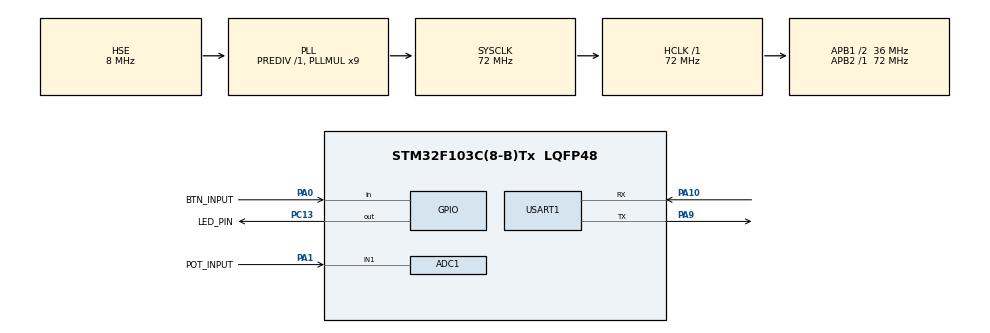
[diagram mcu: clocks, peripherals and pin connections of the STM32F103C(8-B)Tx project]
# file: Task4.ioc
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ADC1.Channel-0\#ChannelRegularConversion=ADC_CHANNEL_1
ADC1.NbrOfConversionFlag=1
ADC1.Rank-0\#ChannelRegularConversion=1
ADC1.SamplingTime-0\#ChannelRegularConversion=ADC_SAMPLETIME_1CYCLE_5
ADC1.master=1
Mcu.Family=STM32F1
Mcu.Name=STM32F103C(8-B)Tx
Mcu.Package=LQFP48
NVIC.PriorityGroup=NVIC_PRIORITYGROUP_4
PA0-WKUP.GPIO_Label=BTN_INPUT
PA0-WKUP.GPIO_PuPd=GPIO_PULLDOWN
PA0-WKUP.Signal=GPIO_Input
PA1.GPIO_Label=POT_INPUT
PA1.Signal=ADCx_IN1
PA10.Mode=Asynchronous
PA10.Signal=USART1_RX
PA13.Mode=Serial_Wire
PA13.Signal=SYS_JTMS-SWDIO
PA14.Mode=Serial_Wire
PA14.Signal=SYS_JTCK-SWCLK
PA9.Mode=Asynchronous
PA9.Signal=USART1_TX
PC13-TAMPER-RTC.GPIO_Label=LED_PIN
PC13-TAMPER-RTC.Signal=GPIO_Output
PD0-OSC_IN.Mode=HSE-External-Oscillator
PD0-OSC_IN.Signal=RCC_OSC_IN
PD1-OSC_OUT.Mode=HSE-External-Oscillator
PD1-OSC_OUT.Signal=RCC_OSC_OUT
ProjectManager.HeapSize=0x200
ProjectManager.StackSize=0x400
ProjectManager.TargetToolchain=Makefile
RCC.ADCPresc=RCC_ADCPCLK2_DIV6
RCC.AHBFreq_Value=72000000
RCC.APB1CLKDivider=RCC_HCLK_DIV2
RCC.APB1Freq_Value=36000000
RCC.APB1TimFreq_Value=72000000
RCC.APB2Freq_Value=72000000
RCC.APB2TimFreq_Value=72000000
RCC.HCLKFreq_Value=72000000
RCC.PLLMUL=RCC_PLL_MUL9
RCC.PLLSourceVirtual=RCC_PLLSOURCE_HSE
RCC.SYSCLKFreq_VALUE=72000000
RCC.SYSCLKSource=RCC_SYSCLKSOURCE_PLLCLK
RCC.USBFreq_Value=72000000
SH.ADCx_IN1.0=ADC1_IN1,IN1
USART1.VirtualMode=VM_ASYNC
board=custom

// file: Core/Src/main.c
/* USER CODE BEGIN Header */
/**
 ******************************************************************************
 * @file           : main.c
 * @brief          : Main program body
 ******************************************************************************
 * @attention
 *
 * Copyright (c) 2026 STMicroelectronics.
 * All rights reserved.
 *
 * This software is licensed under terms that can be found in the LICENSE file
 * in the root directory of this software component.
 * If no LICENSE file comes with this software, it is provided AS-IS.
 *
 ******************************************************************************
 */
/* USER CODE END Header */
#include "main.h"
#include "sensor.h"
#include "uart_log.h"
#include <stdint.h>

/* USER CODE BEGIN PD */
#define BTN_DEBOUNCE_MS 50U    /* Buton debounce bekleme süresi  */
#define LED_BOOT_BLINK 3U      /* Boot testindeki yanıp sönme sayısı */
#define LED_BLINK_FAST_MS 100U /* UART hata bildirimi yanıp sönme   */
#define LED_BLINK_ERR_N 5U     /* UART hata bildirimi tekrar sayısı  */

/* Ölçüm sayacı (her basışta artar, Serial Monitor'de görünür) */
#define MEAS_COUNTER_MAX 9999U
/* USER CODE END PD */

ADC_HandleTypeDef hadc1;

UART_HandleTypeDef huart1;

/* USER CODE BEGIN PV */
static SensorData g_sensor = {0};
static uint32_t g_meas_cnt = 0;
/* USER CODE END PV */

void SystemClock_Config(void);
static void MX_GPIO_Init(void);
static void MX_ADC1_Init(void);
static void MX_USART1_UART_Init(void);

// Custom functions
static void boot_led_test(void);
static void led_error_blink(void);
static void do_measurement(void);
static uint8_t btn_is_pressed(void);

int main(void) {

  /* MCU Configuration--------------------------------------------------------*/

  /* Reset of all peripherals, Initializes the Flash interface and the Systick.
   */
  HAL_Init();

  /* Configure the system clock */
  SystemClock_Config();

  /* Initialize all configured peripherals */
  MX_GPIO_Init();
  MX_ADC1_Init();
  MX_USART1_UART_Init();
  /* USER CODE BEGIN 2 */

  // Boot test
  boot_led_test();
  UART_Print(&huart1, "[SISTEM] TUFAN Sensor Dashboard baslatiliyor...\r\n");
  UART_Print(&huart1, "[SISTEM] LED yanip sonuyor (3x boot testi)...\r\n");
  UART_Print(&huart1, "[SISTEM] Hazir. Olcum icin butona basiniz.\r\n\r\n");

  /* USER CODE END 2 */

  /* Infinite loop */
  while (1) {

    /* USER CODE BEGIN 3 */
    if (btn_is_pressed()) {
      do_measurement();

      // Tek basış garantisi: buton bırakılana kadar bekle
      while (HAL_GPIO_ReadPin(BTN_INPUT_GPIO_Port, BTN_INPUT_Pin) ==
             GPIO_PIN_SET) {
        HAL_Delay(10);
      }
    }
  }
  /* USER CODE END 3 */
}

void SystemClock_Config(void) {
  RCC_OscInitTypeDef RCC_OscInitStruct = {0};
  RCC_ClkInitTypeDef RCC_ClkInitStruct = {0};
  RCC_PeriphCLKInitTypeDef PeriphClkInit = {0};

  /** Initializes the RCC Oscillators according to the specified parameters
   * in the RCC_OscInitTypeDef structure.
   */
  RCC_OscInitStruct.OscillatorType = RCC_OSCILLATORTYPE_HSE;
  RCC_OscInitStruct.HSEState = RCC_HSE_ON;
  RCC_OscInitStruct.HSEPredivValue = RCC_HSE_PREDIV_DIV1;
  RCC_OscInitStruct.HSIState = RCC_HSI_ON;
  RCC_OscInitStruct.PLL.PLLState = RCC_PLL_ON;
  RCC_OscInitStruct.PLL.PLLSource = RCC_PLLSOURCE_HSE;
  RCC_OscInitStruct.PLL.PLLMUL = RCC_PLL_MUL9;
  if (HAL_RCC_OscConfig(&RCC_OscInitStruct) != HAL_OK) {
    Error_Handler();
  }

  /** Initializes the CPU, AHB and APB buses clocks
   */
  RCC_ClkInitStruct.ClockType = RCC_CLOCKTYPE_HCLK | RCC_CLOCKTYPE_SYSCLK |
                                RCC_CLOCKTYPE_PCLK1 | RCC_CLOCKTYPE_PCLK2;
  RCC_ClkInitStruct.SYSCLKSource = RCC_SYSCLKSOURCE_PLLCLK;
  RCC_ClkInitStruct.AHBCLKDivider = RCC_SYSCLK_DIV1;
  RCC_ClkInitStruct.APB1CLKDivider = RCC_HCLK_DIV2;
  RCC_ClkInitStruct.APB2CLKDivider = RCC_HCLK_DIV1;

  if (HAL_RCC_ClockConfig(&RCC_ClkInitStruct, FLASH_LATENCY_2) != HAL_OK) {
    Error_Handler();
  }
  PeriphClkInit.PeriphClockSelection = RCC_PERIPHCLK_ADC;
  PeriphClkInit.AdcClockSelection = RCC_ADCPCLK2_DIV6;
  if (HAL_RCCEx_PeriphCLKConfig(&PeriphClkInit) != HAL_OK) {
    Error_Handler();
  }
}

static void MX_ADC1_Init(void) {

  ADC_ChannelConfTypeDef sConfig = {0};

  /** Common config
   */
  hadc1.Instance = ADC1;
  hadc1.Init.ScanConvMode = ADC_SCAN_DISABLE;
  hadc1.Init.ContinuousConvMode = DISABLE;
  hadc1.Init.DiscontinuousConvMode = DISABLE;
  hadc1.Init.ExternalTrigConv = ADC_SOFTWARE_START;
  hadc1.Init.DataAlign = ADC_DATAALIGN_RIGHT;
  hadc1.Init.NbrOfConversion = 1;
  if (HAL_ADC_Init(&hadc1) != HAL_OK) {
    Error_Handler();
  }

  /** Configure Regular Channel
   */
  sConfig.Channel = ADC_CHANNEL_1;
  sConfig.Rank = ADC_REGULAR_RANK_1;
  sConfig.SamplingTime = ADC_SAMPLETIME_1CYCLE_5;
  if (HAL_ADC_ConfigChannel(&hadc1, &sConfig) != HAL_OK) {
    Error_Handler();
  }
}

static void MX_USART1_UART_Init(void) {

  huart1.Instance = USART1;
  huart1.Init.BaudRate = 115200;
  huart1.Init.WordLength = UART_WORDLENGTH_8B;
  huart1.Init.StopBits = UART_STOPBITS_1;
  huart1.Init.Parity = UART_PARITY_NONE;
  huart1.Init.Mode = UART_MODE_TX_RX;
  huart1.Init.HwFlowCtl = UART_HWCONTROL_NONE;
  huart1.Init.OverSampling = UART_OVERSAMPLING_16;
  if (HAL_UART_Init(&huart1) != HAL_OK) {
    Error_Handler();
  }
}

static void MX_GPIO_Init(void) {
  GPIO_InitTypeDef GPIO_InitStruct = {0};

  /* GPIO Ports Clock Enable */
  __HAL_RCC_GPIOC_CLK_ENABLE();
  __HAL_RCC_GPIOD_CLK_ENABLE();
  __HAL_RCC_GPIOA_CLK_ENABLE();

  /*Configure GPIO pin Output Level */
  HAL_GPIO_WritePin(LED_PIN_GPIO_Port, LED_PIN_Pin, GPIO_PIN_RESET);

  /*Configure GPIO pin : LED_PIN_Pin */
  GPIO_InitStruct.Pin = LED_PIN_Pin;
  GPIO_InitStruct.Mode = GPIO_MODE_OUTPUT_PP;
  GPIO_InitStruct.Pull = GPIO_NOPULL;
  GPIO_InitStruct.Speed = GPIO_SPEED_FREQ_LOW;
  HAL_GPIO_Init(LED_PIN_GPIO_Port, &GPIO_InitStruct);

  /*Configure GPIO pin : BTN_INPUT_Pin */
  GPIO_InitStruct.Pin = BTN_INPUT_Pin;
  GPIO_InitStruct.Mode = GPIO_MODE_INPUT;
  GPIO_InitStruct.Pull = GPIO_PULLDOWN;
  HAL_GPIO_Init(BTN_INPUT_GPIO_Port, &GPIO_InitStruct);

}

/* USER CODE BEGIN 4 */

/**
 * @brief  Boot başarı testi: LED 3 kez yanıp söner, sonra söner.
 */
static void boot_led_test(void) {
  for (uint8_t i = 0; i < LED_BOOT_BLINK; i++) {
    HAL_GPIO_WritePin(LED_PIN_GPIO_Port, LED_PIN_Pin,
                      GPIO_PIN_RESET); /* LED YAK (active-low) */
    HAL_Delay(300);
    HAL_GPIO_WritePin(LED_PIN_GPIO_Port, LED_PIN_Pin,
                      GPIO_PIN_SET); /* LED SÖNDÜR           */
    HAL_Delay(300);
  }
  /* Boot sonrası LED söndürülmüş kalır */
  HAL_GPIO_WritePin(LED_PIN_GPIO_Port, LED_PIN_Pin, GPIO_PIN_SET);
}

/**
 * @brief  UART hatası görsel bildirimi: LED 5 kez hızlı yanıp söner.
 */
static void led_error_blink(void) {
  for (uint8_t i = 0; i < LED_BLINK_ERR_N; i++) {
    HAL_GPIO_WritePin(LED_PIN_GPIO_Port, LED_PIN_Pin, GPIO_PIN_RESET);
    HAL_Delay(LED_BLINK_FAST_MS);
    HAL_GPIO_WritePin(LED_PIN_GPIO_Port, LED_PIN_Pin, GPIO_PIN_SET);
    HAL_Delay(LED_BLINK_FAST_MS);
  }
}

/**
 * @brief  Buton aktif mi? (debounce dahil)
 *         PA0 PULL-DOWN ile yapılandırıldığında:
 *           Basılı → GPIO_PIN_SET (HIGH)
 *           Bırakılmış → GPIO_PIN_RESET (LOW)
 * @retval 1: basılı ve kararlı, 0: basılı değil
 */
static uint8_t btn_is_pressed(void) {
  if (HAL_GPIO_ReadPin(BTN_INPUT_GPIO_Port, BTN_INPUT_Pin) ==
      GPIO_PIN_SET) {
    HAL_Delay(BTN_DEBOUNCE_MS); /* Debounce: 50 ms bekle */
    if (HAL_GPIO_ReadPin(BTN_INPUT_GPIO_Port, BTN_INPUT_Pin) ==
        GPIO_PIN_SET) {
      return 1;
    }
  }
  return 0;
}

/**
 * @brief  Tam ölçüm döngüsü:
 *         LED yak → ADC oku → UART'a gönder → LED söndür
 */
static void do_measurement(void) {
  HAL_StatusTypeDef status;
  char buf[64];

  /* LED YAK — ölçüm devam ediyor */
  HAL_GPIO_WritePin(LED_PIN_GPIO_Port, LED_PIN_Pin, GPIO_PIN_RESET);

  /* ADC OKU */
  status = sensor_read(&hadc1, &g_sensor);

  if (status == HAL_TIMEOUT) {
    UART_Print(&huart1, "[HATA] ADC zaman asimi! Olcum atlandi.\r\n");
    HAL_GPIO_WritePin(LED_PIN_GPIO_Port, LED_PIN_Pin, GPIO_PIN_SET);
    return;
  }

  if (status != HAL_OK || g_sensor.valid == 0) {
    UART_Print(&huart1,
               "[UYARI] ADC degeri aralik disi! Donanim kontrol edin.\r\n");
    HAL_GPIO_WritePin(LED_PIN_GPIO_Port, LED_PIN_Pin, GPIO_PIN_SET);
    return;
  }

  /* ÖLÇÜM SAYACINI ARTTIR */
  g_meas_cnt++;
  if (g_meas_cnt > MEAS_COUNTER_MAX)
    g_meas_cnt = 1;

  /* UART ÇIKTISI */
  snprintf(buf, sizeof(buf),
           "\r\n======== TUFAN SENSOR OKUMASI #%lu ========\r\n",
           (unsigned long)g_meas_cnt);

  HAL_StatusTypeDef uart_status =
      HAL_UART_Transmit(&huart1, (uint8_t *)buf, (uint16_t)strlen(buf), 100);
  if (uart_status != HAL_OK) {
    led_error_blink();
    return;
  }

  UART_PrintUint(&huart1, "Ham ADC Degeri : ", g_sensor.raw);

  /* Gerilim ve batarya değerlerini birim ile birlikte yazdır */
  {
    char vbuf[64];
    snprintf(vbuf, sizeof(vbuf), "Gerilim        : %.2f V\r\n", g_sensor.voltage);
    UART_Print(&huart1, vbuf);

    snprintf(vbuf, sizeof(vbuf), "Batarya Sim.   : %.1f %%\r\n", g_sensor.percent);
    UART_Print(&huart1, vbuf);
  }
  UART_Print(&huart1, "LED Durumu     : ACIK (olcum)\r\n");
  UART_Print(&huart1, "=========================================\r\n");

  /* LED SÖNDÜR — ölçüm bitti */
  HAL_GPIO_WritePin(LED_PIN_GPIO_Port, LED_PIN_Pin, GPIO_PIN_SET);
}

/* USER CODE END 4 */

void Error_Handler(void) {
  __disable_irq();
  while (1) {
  }
}
#ifdef USE_FULL_ASSERT
/**
 * @brief  Reports the name of the source file and the source line number
 *         where the assert_param error has occurred.
 * @param  file: pointer to the source file name
 * @param  line: assert_param error line source number
 * @retval None
 */
void assert_failed(uint8_t *file, uint32_t line) {
  /* USER CODE BEGIN 6 */
  /* User can add his own implementation to report the file name and line
     number, ex: printf("Wrong parameters value: file %s on line %d\r\n", file,
     line) */
  /* USER CODE END 6 */
}
#endif /* USE_FULL_ASSERT */
